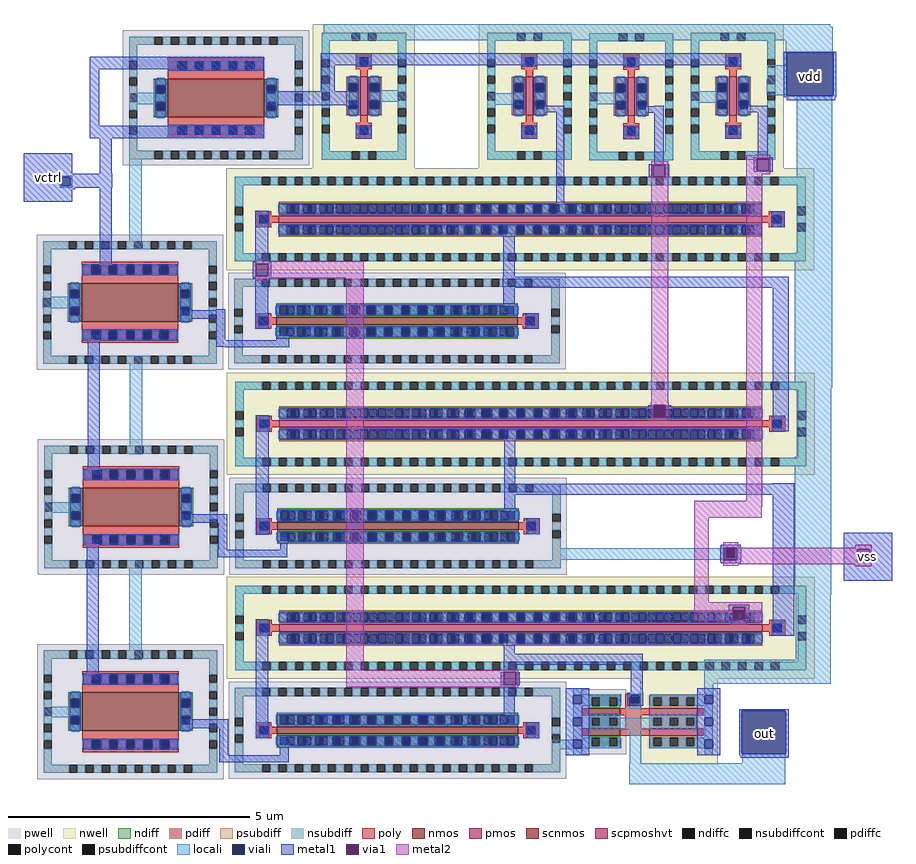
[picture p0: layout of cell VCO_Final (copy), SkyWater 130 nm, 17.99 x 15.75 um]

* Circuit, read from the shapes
.subckt VCO_Final (copy) vdd vss vctrl out
XM1 n1 vctrl vss vss sky130_fd_pr__nfet_01v8 w=0.8 l=2
XM2 n2 vctrl vss vss sky130_fd_pr__nfet_01v8 w=0.8 l=2
XM3 n3 vctrl vss vss sky130_fd_pr__nfet_01v8 w=0.8 l=2
XM4 n4 vctrl vss vss sky130_fd_pr__nfet_01v8 w=0.8 l=2
XM5 n5 x1/A n1 vss sky130_fd_pr__nfet_01v8 w=5 l=0.15
XM6 x1/A n6 n2 vss sky130_fd_pr__nfet_01v8 w=5 l=0.15
XM7 n6 n5 n3 vss sky130_fd_pr__nfet_01v8 w=5 l=0.15
XM8 out x1/A vss vss sky130_fd_pr__nfet_01v8 w=0.65 l=0.15 m=2
XM9 n7 x1/A n5 vdd sky130_fd_pr__pfet_01v8 w=10 l=0.15
XM10 n8 n6 x1/A vdd sky130_fd_pr__pfet_01v8 w=10 l=0.15
XM11 n9 n5 n6 vdd sky130_fd_pr__pfet_01v8 w=10 l=0.15
XM12 vdd n4 n4 vdd sky130_fd_pr__pfet_01v8 w=0.8 l=0.15
XM13 n7 n4 vdd vdd sky130_fd_pr__pfet_01v8 w=0.8 l=0.15
XM14 n9 n4 vdd vdd sky130_fd_pr__pfet_01v8 w=0.8 l=0.15
XM15 out x1/A vdd vdd sky130_fd_pr__pfet_01v8_hvt w=1 l=0.15 m=2
XM16 n8 n4 vdd vdd sky130_fd_pr__pfet_01v8 w=0.8 l=0.15
.ends

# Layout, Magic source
magic
tech sky130A
magscale 1 2
<< nwell >>
rect 3476 2734 3492 2738
rect 3476 2728 3798 2734
<< locali >>
rect 2164 5434 4264 5444
rect 2164 5378 4274 5434
rect 4080 5326 4274 5378
rect 4080 5276 4084 5326
rect 4002 5214 4084 5276
rect 1358 5114 1504 5162
rect 2358 5124 2504 5172
rect 2846 5112 2992 5160
rect 3266 5114 3412 5162
rect 3686 5120 3832 5168
rect 4000 5150 4084 5214
rect 1070 4810 1122 4818
rect 1070 4776 1079 4810
rect 1113 4776 1122 4810
rect 1070 4768 1122 4776
rect 1358 4512 1410 4922
rect 4126 4498 4272 5148
rect 1002 4312 1150 4316
rect 1000 4272 1150 4312
rect 1000 4268 1148 4272
rect 1360 3662 1412 4072
rect 4116 3938 4272 4498
rect 4116 3928 4268 3938
rect 4126 3652 4268 3928
rect 1006 3420 1154 3464
rect 3112 3267 3882 3274
rect 3112 3233 3834 3267
rect 3868 3233 3882 3267
rect 3112 3226 3882 3233
rect 1358 2812 1410 3222
rect 4116 3082 4268 3652
rect 4120 3080 4268 3082
rect 4120 2810 4266 3080
rect 3742 2712 4266 2810
rect 3434 2664 3476 2668
rect 3434 2630 3438 2664
rect 3472 2630 3476 2664
rect 3434 2626 3476 2630
rect 3742 2628 3778 2712
rect 1004 2572 1152 2616
rect 3110 2440 3234 2480
rect 3432 2382 3480 2570
rect 3900 2382 4078 2422
rect 3430 2296 4078 2382
<< viali >>
rect 4084 5148 4276 5326
rect 1079 4776 1113 4810
rect 3834 3233 3868 3267
rect 3438 2630 3472 2664
rect 3898 2422 4080 2600
<< metal1 >>
rect 4072 5326 4288 5332
rect 1196 5308 1916 5310
rect 1194 5258 1916 5308
rect 2152 5274 3894 5324
rect 1194 5024 1234 5258
rect 2152 5168 2210 5274
rect 1930 5110 2308 5168
rect 4072 5148 4084 5326
rect 4276 5148 4288 5326
rect 4072 5142 4288 5148
rect 4084 5130 4284 5142
rect 3084 5106 3162 5108
rect 3534 5106 3574 5108
rect 3044 5080 3162 5106
rect 1194 4972 1918 5024
rect 922 4826 1122 4910
rect 1236 4826 1286 4972
rect 2298 4970 2364 5020
rect 2984 4970 3050 5020
rect 922 4810 1288 4826
rect 922 4776 1079 4810
rect 1113 4776 1288 4810
rect 922 4768 1288 4776
rect 922 4762 1134 4768
rect 922 4710 1122 4762
rect 1236 4444 1286 4768
rect 1880 4460 1934 4672
rect 3128 4664 3162 5080
rect 3462 5078 3574 5106
rect 3890 5080 4004 5108
rect 3406 4968 3472 5018
rect 3534 4864 3574 5078
rect 3828 4970 3894 5020
rect 3964 4894 4004 5080
rect 3946 4890 4026 4894
rect 3512 4863 3596 4864
rect 3512 4811 3528 4863
rect 3580 4811 3596 4863
rect 3946 4838 3960 4890
rect 4012 4838 4026 4890
rect 3946 4834 4026 4838
rect 3512 4810 3596 4811
rect 1870 4452 1946 4460
rect 1236 4406 1286 4410
rect 1870 4400 1882 4452
rect 1934 4400 1946 4452
rect 1870 4392 1946 4400
rect 2908 4398 2956 4610
rect 4026 4604 4076 4670
rect 1720 4260 1756 4264
rect 1572 4224 1756 4260
rect 1186 3578 1236 4158
rect 1720 4136 1756 4224
rect 1880 4182 1934 4392
rect 2906 4352 4092 4398
rect 2908 4242 2956 4352
rect 3006 4182 3056 4248
rect 1968 4136 2022 4164
rect 1720 4108 2022 4136
rect 1754 4106 2022 4108
rect 1576 3378 1764 3414
rect 1182 2728 1232 3308
rect 1728 3266 1764 3378
rect 1882 3330 1936 3824
rect 3510 3814 3531 3866
rect 3583 3814 3604 3866
rect 2912 3540 2958 3764
rect 4026 3758 4092 4352
rect 4028 3756 4078 3758
rect 4026 3540 4114 3542
rect 2912 3494 4114 3540
rect 2912 3392 2958 3494
rect 3010 3332 3060 3398
rect 1984 3266 2014 3322
rect 3810 3280 3892 3288
rect 1726 3236 2014 3266
rect 3808 3275 3894 3280
rect 3808 3223 3825 3275
rect 3877 3223 3894 3275
rect 3808 3220 3894 3223
rect 3810 3210 3892 3220
rect 3844 3029 3928 3038
rect 1576 2528 1768 2564
rect 1732 2416 1768 2528
rect 1882 2486 1934 2978
rect 3844 2977 3860 3029
rect 3912 2977 3928 3029
rect 3844 2968 3928 2977
rect 2910 2836 2956 2916
rect 4026 2910 4114 3494
rect 4320 3269 4520 3338
rect 4320 3217 4376 3269
rect 4428 3217 4520 3269
rect 4320 3138 4520 3217
rect 2910 2790 3486 2836
rect 2910 2760 2956 2790
rect 2898 2759 2976 2760
rect 2898 2707 2911 2759
rect 2963 2707 2976 2759
rect 2898 2706 2976 2707
rect 2910 2548 2956 2706
rect 3436 2674 3486 2790
rect 3422 2664 3488 2674
rect 3422 2630 3438 2664
rect 3472 2630 3488 2664
rect 3422 2620 3488 2630
rect 3886 2600 4092 2606
rect 1982 2416 2020 2492
rect 3008 2486 3058 2552
rect 3886 2422 3898 2600
rect 4080 2422 4092 2600
rect 3886 2416 4092 2422
rect 1732 2386 2020 2416
rect 3892 2404 4092 2416
<< via1 >>
rect 3528 4811 3580 4863
rect 3960 4838 4012 4890
rect 1882 4400 1934 4452
rect 3531 3814 3583 3866
rect 3825 3267 3877 3275
rect 3825 3233 3834 3267
rect 3834 3233 3868 3267
rect 3868 3233 3877 3267
rect 3825 3223 3877 3233
rect 3860 2977 3912 3029
rect 4376 3217 4428 3269
rect 2911 2707 2963 2759
<< metal2 >>
rect 3956 4902 4016 4904
rect 3916 4890 4016 4902
rect 3522 4863 3592 4878
rect 3522 4811 3528 4863
rect 3580 4811 3592 4863
rect 1880 4462 1936 4470
rect 1880 4452 2330 4462
rect 1880 4400 1882 4452
rect 1934 4400 2330 4452
rect 1880 4392 2330 4400
rect 1880 4382 1936 4392
rect 2258 2768 2330 4392
rect 3522 3876 3592 4811
rect 3916 4838 3960 4890
rect 4012 4838 4016 4890
rect 3916 4824 4016 4838
rect 3520 3866 3594 3876
rect 3520 3814 3531 3866
rect 3583 3814 3594 3866
rect 3520 3804 3594 3814
rect 3916 3470 3982 4824
rect 3700 3448 3982 3470
rect 3700 3400 3980 3448
rect 3700 3050 3760 3400
rect 3820 3276 3882 3298
rect 4368 3276 4436 3288
rect 3820 3275 4436 3276
rect 3820 3223 3825 3275
rect 3877 3269 4436 3275
rect 3877 3223 4376 3269
rect 3820 3217 4376 3223
rect 4428 3217 4436 3269
rect 3820 3206 4436 3217
rect 3820 3200 3882 3206
rect 4368 3198 4436 3206
rect 3700 3029 3982 3050
rect 3700 2977 3860 3029
rect 3912 2977 3982 3029
rect 3700 2972 3982 2977
rect 3852 2970 3982 2972
rect 3854 2958 3918 2970
rect 2908 2768 2966 2770
rect 2258 2759 2970 2768
rect 2258 2707 2911 2759
rect 2963 2707 2970 2759
rect 2258 2698 2970 2707
rect 2908 2696 2966 2698
use sky130_fd_pr__nfet_01v8_MMRDEV  M1
transform -1 0 1718 0 -1 5140
box -386 -280 386 280
use sky130_fd_pr__pfet_01v8_XYUFBL  M2
transform 1 0 2331 0 1 5147
box -211 -299 211 299
use sky130_fd_pr__pfet_01v8_XYUFBL  M3
transform 1 0 3439 0 1 5145
box -211 -299 211 299
use sky130_fd_pr__pfet_01v8_XGA8MR  M4
transform 0 1 2981 -1 0 3789
box -211 -1219 211 1219
use sky130_fd_pr__nfet_01v8_MMRDEV  M5
transform 1 0 1366 0 1 3444
box -386 -280 386 280
use sky130_fd_pr__nfet_01v8_BBNS5X  M6
transform 0 1 2472 -1 0 3365
box -201 -700 201 700
use sky130_fd_pr__pfet_01v8_XYUFBL  M7
transform 1 0 3861 0 1 5147
box -211 -299 211 299
use sky130_fd_pr__pfet_01v8_XGA8MR  M8
transform 0 1 2981 -1 0 2943
box -211 -1219 211 1219
use sky130_fd_pr__nfet_01v8_MMRDEV  M9
transform -1 0 1364 0 1 2596
box -386 -280 386 280
use sky130_fd_pr__nfet_01v8_BBNS5X  M10
transform 0 1 2470 1 0 2519
box -201 -700 201 700
use sky130_fd_pr__pfet_01v8_XYUFBL  M11
transform 1 0 3017 0 1 5147
box -211 -299 211 299
use sky130_fd_pr__pfet_01v8_XGA8MR  M12
transform 0 1 2979 -1 0 4637
box -211 -1219 211 1219
use sky130_fd_pr__nfet_01v8_MMRDEV  M13
transform 1 0 1362 0 1 4292
box -386 -280 386 280
use sky130_fd_pr__nfet_01v8_BBNS5X  M14
transform 0 1 2468 -1 0 4215
box -201 -700 201 700
use sky130_fd_sc_hd__inv_2  x1
transform 0 1 3216 -1 0 2692
box -38 -48 314 592
<< labels >>
flabel metal1 s 4320 3138 4520 3338 0 FreeSans 320 0 0 0 vss
port 2 nsew
flabel metal1 s 922 4710 1122 4910 0 FreeSans 320 0 0 0 vctrl
port 3 nsew
flabel metal1 s 3892 2404 4092 2604 0 FreeSans 320 0 0 0 out
port 4 nsew
flabel metal1 s 4084 5130 4284 5330 0 FreeSans 320 180 0 0 vdd
port 1 nsew
<< end >>

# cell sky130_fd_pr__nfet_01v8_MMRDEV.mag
magic
tech sky130A
magscale 1 2
<< pwell >>
rect -386 -280 386 280
<< nmos >>
rect -200 -80 200 80
<< ndiff >>
rect -258 51 -200 80
rect -258 17 -246 51
rect -212 17 -200 51
rect -258 -17 -200 17
rect -258 -51 -246 -17
rect -212 -51 -200 -17
rect -258 -80 -200 -51
rect 200 51 258 80
rect 200 17 212 51
rect 246 17 258 51
rect 200 -17 258 17
rect 200 -51 212 -17
rect 246 -51 258 -17
rect 200 -80 258 -51
<< ndiffc >>
rect -246 17 -212 51
rect -246 -51 -212 -17
rect 212 17 246 51
rect 212 -51 246 -17
<< psubdiff >>
rect -360 220 -255 254
rect -221 220 -187 254
rect -153 220 -119 254
rect -85 220 -51 254
rect -17 220 17 254
rect 51 220 85 254
rect 119 220 153 254
rect 187 220 221 254
rect 255 220 360 254
rect -360 153 -326 220
rect -360 85 -326 119
rect 326 153 360 220
rect 326 85 360 119
rect -360 17 -326 51
rect -360 -51 -326 -17
rect 326 17 360 51
rect 326 -51 360 -17
rect -360 -119 -326 -85
rect -360 -220 -326 -153
rect 326 -119 360 -85
rect 326 -220 360 -153
rect -360 -254 -255 -220
rect -221 -254 -187 -220
rect -153 -254 -119 -220
rect -85 -254 -51 -220
rect -17 -254 17 -220
rect 51 -254 85 -220
rect 119 -254 153 -220
rect 187 -254 221 -220
rect 255 -254 360 -220
<< psubdiffcont >>
rect -255 220 -221 254
rect -187 220 -153 254
rect -119 220 -85 254
rect -51 220 -17 254
rect 17 220 51 254
rect 85 220 119 254
rect 153 220 187 254
rect 221 220 255 254
rect -360 119 -326 153
rect -360 51 -326 85
rect 326 119 360 153
rect -360 -17 -326 17
rect -360 -85 -326 -51
rect 326 51 360 85
rect 326 -17 360 17
rect -360 -153 -326 -119
rect 326 -85 360 -51
rect 326 -153 360 -119
rect -255 -254 -221 -220
rect -187 -254 -153 -220
rect -119 -254 -85 -220
rect -51 -254 -17 -220
rect 17 -254 51 -220
rect 85 -254 119 -220
rect 153 -254 187 -220
rect 221 -254 255 -220
<< poly >>
rect -200 152 200 168
rect -200 118 -153 152
rect -119 118 -85 152
rect -51 118 -17 152
rect 17 118 51 152
rect 85 118 119 152
rect 153 118 200 152
rect -200 80 200 118
rect -200 -118 200 -80
rect -200 -152 -153 -118
rect -119 -152 -85 -118
rect -51 -152 -17 -118
rect 17 -152 51 -118
rect 85 -152 119 -118
rect 153 -152 200 -118
rect -200 -168 200 -152
<< polycont >>
rect -153 118 -119 152
rect -85 118 -51 152
rect -17 118 17 152
rect 51 118 85 152
rect 119 118 153 152
rect -153 -152 -119 -118
rect -85 -152 -51 -118
rect -17 -152 17 -118
rect 51 -152 85 -118
rect 119 -152 153 -118
<< locali >>
rect -360 220 -255 254
rect -221 220 -187 254
rect -153 220 -119 254
rect -85 220 -51 254
rect -17 220 17 254
rect 51 220 85 254
rect 119 220 153 254
rect 187 220 221 254
rect 255 220 360 254
rect -360 153 -326 220
rect 326 153 360 220
rect -360 85 -326 119
rect -200 118 -161 152
rect -119 118 -89 152
rect -51 118 -17 152
rect 17 118 51 152
rect 89 118 119 152
rect 161 118 200 152
rect 326 85 360 119
rect -360 17 -326 51
rect -360 -51 -326 -17
rect -246 53 -212 84
rect -246 -17 -212 17
rect -246 -84 -212 -53
rect 212 53 246 84
rect 212 -17 246 17
rect 212 -84 246 -53
rect 326 17 360 51
rect 326 -51 360 -17
rect -360 -119 -326 -85
rect -200 -152 -161 -118
rect -119 -152 -89 -118
rect -51 -152 -17 -118
rect 17 -152 51 -118
rect 89 -152 119 -118
rect 161 -152 200 -118
rect 326 -119 360 -85
rect -360 -220 -326 -153
rect 326 -220 360 -153
rect -360 -254 -255 -220
rect -221 -254 -187 -220
rect -153 -254 -119 -220
rect -85 -254 -51 -220
rect -17 -254 17 -220
rect 51 -254 85 -220
rect 119 -254 153 -220
rect 187 -254 221 -220
rect 255 -254 360 -220
<< viali >>
rect -161 118 -153 152
rect -153 118 -127 152
rect -89 118 -85 152
rect -85 118 -55 152
rect -17 118 17 152
rect 55 118 85 152
rect 85 118 89 152
rect 127 118 153 152
rect 153 118 161 152
rect -246 51 -212 53
rect -246 19 -212 51
rect -246 -51 -212 -19
rect -246 -53 -212 -51
rect 212 51 246 53
rect 212 19 246 51
rect 212 -51 246 -19
rect 212 -53 246 -51
rect -161 -152 -153 -118
rect -153 -152 -127 -118
rect -89 -152 -85 -118
rect -85 -152 -55 -118
rect -17 -152 17 -118
rect 55 -152 85 -118
rect 85 -152 89 -118
rect 127 -152 153 -118
rect 153 -152 161 -118
<< metal1 >>
rect -196 152 196 158
rect -196 118 -161 152
rect -127 118 -89 152
rect -55 118 -17 152
rect 17 118 55 152
rect 89 118 127 152
rect 161 118 196 152
rect -196 112 196 118
rect -252 53 -206 80
rect -252 19 -246 53
rect -212 19 -206 53
rect -252 -19 -206 19
rect -252 -53 -246 -19
rect -212 -53 -206 -19
rect -252 -80 -206 -53
rect 206 53 252 80
rect 206 19 212 53
rect 246 19 252 53
rect 206 -19 252 19
rect 206 -53 212 -19
rect 246 -53 252 -19
rect 206 -80 252 -53
rect -196 -118 196 -112
rect -196 -152 -161 -118
rect -127 -152 -89 -118
rect -55 -152 -17 -118
rect 17 -152 55 -118
rect 89 -152 127 -118
rect 161 -152 196 -118
rect -196 -158 196 -152
<< properties >>
string FIXED_BBOX -342 -236 342 236
<< end >>

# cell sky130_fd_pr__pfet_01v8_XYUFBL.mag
magic
tech sky130A
magscale 1 2
<< nwell >>
rect -211 -299 211 299
<< pmos >>
rect -15 -80 15 80
<< pdiff >>
rect -73 51 -15 80
rect -73 17 -61 51
rect -27 17 -15 51
rect -73 -17 -15 17
rect -73 -51 -61 -17
rect -27 -51 -15 -17
rect -73 -80 -15 -51
rect 15 51 73 80
rect 15 17 27 51
rect 61 17 73 51
rect 15 -17 73 17
rect 15 -51 27 -17
rect 61 -51 73 -17
rect 15 -80 73 -51
<< pdiffc >>
rect -61 17 -27 51
rect -61 -51 -27 -17
rect 27 17 61 51
rect 27 -51 61 -17
<< nsubdiff >>
rect -175 229 -51 263
rect -17 229 17 263
rect 51 229 175 263
rect -175 153 -141 229
rect -175 85 -141 119
rect 141 153 175 229
rect 141 85 175 119
rect -175 17 -141 51
rect -175 -51 -141 -17
rect 141 17 175 51
rect 141 -51 175 -17
rect -175 -119 -141 -85
rect -175 -229 -141 -153
rect 141 -119 175 -85
rect 141 -229 175 -153
rect -175 -263 -51 -229
rect -17 -263 17 -229
rect 51 -263 175 -229
<< nsubdiffcont >>
rect -51 229 -17 263
rect 17 229 51 263
rect -175 119 -141 153
rect 141 119 175 153
rect -175 51 -141 85
rect -175 -17 -141 17
rect -175 -85 -141 -51
rect 141 51 175 85
rect 141 -17 175 17
rect 141 -85 175 -51
rect -175 -153 -141 -119
rect 141 -153 175 -119
rect -51 -263 -17 -229
rect 17 -263 51 -229
<< poly >>
rect -33 161 33 177
rect -33 127 -17 161
rect 17 127 33 161
rect -33 111 33 127
rect -15 80 15 111
rect -15 -111 15 -80
rect -33 -127 33 -111
rect -33 -161 -17 -127
rect 17 -161 33 -127
rect -33 -177 33 -161
<< polycont >>
rect -17 127 17 161
rect -17 -161 17 -127
<< locali >>
rect -175 229 -51 263
rect -17 229 17 263
rect 51 229 175 263
rect -175 153 -141 229
rect -33 127 -17 161
rect 17 127 33 161
rect 141 153 175 229
rect -175 85 -141 119
rect 141 85 175 119
rect -175 17 -141 51
rect -175 -51 -141 -17
rect -61 53 -27 84
rect -61 -17 -27 17
rect -61 -84 -27 -53
rect 27 53 61 84
rect 27 -17 61 17
rect 27 -84 61 -53
rect 141 17 175 51
rect 141 -51 175 -17
rect -175 -119 -141 -85
rect 141 -119 175 -85
rect -175 -229 -141 -153
rect -33 -161 -17 -127
rect 17 -161 33 -127
rect 141 -229 175 -153
rect -175 -263 -51 -229
rect -17 -263 17 -229
rect 51 -263 175 -229
<< viali >>
rect -17 127 17 161
rect -61 51 -27 53
rect -61 19 -27 51
rect -61 -51 -27 -19
rect -61 -53 -27 -51
rect 27 51 61 53
rect 27 19 61 51
rect 27 -51 61 -19
rect 27 -53 61 -51
rect -17 -161 17 -127
<< metal1 >>
rect -29 161 29 167
rect -29 127 -17 161
rect 17 127 29 161
rect -29 121 29 127
rect -67 53 -21 80
rect -67 19 -61 53
rect -27 19 -21 53
rect -67 -19 -21 19
rect -67 -53 -61 -19
rect -27 -53 -21 -19
rect -67 -80 -21 -53
rect 21 53 67 80
rect 21 19 27 53
rect 61 19 67 53
rect 21 -19 67 19
rect 21 -53 27 -19
rect 61 -53 67 -19
rect 21 -80 67 -53
rect -29 -127 29 -121
rect -29 -161 -17 -127
rect 17 -161 29 -127
rect -29 -167 29 -161
<< properties >>
string FIXED_BBOX -158 -246 158 246
<< end >>

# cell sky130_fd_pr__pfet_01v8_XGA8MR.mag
magic
tech sky130A
magscale 1 2
<< nwell >>
rect -211 -1219 211 1219
<< pmos >>
rect -15 -1000 15 1000
<< pdiff >>
rect -73 969 -15 1000
rect -73 935 -61 969
rect -27 935 -15 969
rect -73 901 -15 935
rect -73 867 -61 901
rect -27 867 -15 901
rect -73 833 -15 867
rect -73 799 -61 833
rect -27 799 -15 833
rect -73 765 -15 799
rect -73 731 -61 765
rect -27 731 -15 765
rect -73 697 -15 731
rect -73 663 -61 697
rect -27 663 -15 697
rect -73 629 -15 663
rect -73 595 -61 629
rect -27 595 -15 629
rect -73 561 -15 595
rect -73 527 -61 561
rect -27 527 -15 561
rect -73 493 -15 527
rect -73 459 -61 493
rect -27 459 -15 493
rect -73 425 -15 459
rect -73 391 -61 425
rect -27 391 -15 425
rect -73 357 -15 391
rect -73 323 -61 357
rect -27 323 -15 357
rect -73 289 -15 323
rect -73 255 -61 289
rect -27 255 -15 289
rect -73 221 -15 255
rect -73 187 -61 221
rect -27 187 -15 221
rect -73 153 -15 187
rect -73 119 -61 153
rect -27 119 -15 153
rect -73 85 -15 119
rect -73 51 -61 85
rect -27 51 -15 85
rect -73 17 -15 51
rect -73 -17 -61 17
rect -27 -17 -15 17
rect -73 -51 -15 -17
rect -73 -85 -61 -51
rect -27 -85 -15 -51
rect -73 -119 -15 -85
rect -73 -153 -61 -119
rect -27 -153 -15 -119
rect -73 -187 -15 -153
rect -73 -221 -61 -187
rect -27 -221 -15 -187
rect -73 -255 -15 -221
rect -73 -289 -61 -255
rect -27 -289 -15 -255
rect -73 -323 -15 -289
rect -73 -357 -61 -323
rect -27 -357 -15 -323
rect -73 -391 -15 -357
rect -73 -425 -61 -391
rect -27 -425 -15 -391
rect -73 -459 -15 -425
rect -73 -493 -61 -459
rect -27 -493 -15 -459
rect -73 -527 -15 -493
rect -73 -561 -61 -527
rect -27 -561 -15 -527
rect -73 -595 -15 -561
rect -73 -629 -61 -595
rect -27 -629 -15 -595
rect -73 -663 -15 -629
rect -73 -697 -61 -663
rect -27 -697 -15 -663
rect -73 -731 -15 -697
rect -73 -765 -61 -731
rect -27 -765 -15 -731
rect -73 -799 -15 -765
rect -73 -833 -61 -799
rect -27 -833 -15 -799
rect -73 -867 -15 -833
rect -73 -901 -61 -867
rect -27 -901 -15 -867
rect -73 -935 -15 -901
rect -73 -969 -61 -935
rect -27 -969 -15 -935
rect -73 -1000 -15 -969
rect 15 969 73 1000
rect 15 935 27 969
rect 61 935 73 969
rect 15 901 73 935
rect 15 867 27 901
rect 61 867 73 901
rect 15 833 73 867
rect 15 799 27 833
rect 61 799 73 833
rect 15 765 73 799
rect 15 731 27 765
rect 61 731 73 765
rect 15 697 73 731
rect 15 663 27 697
rect 61 663 73 697
rect 15 629 73 663
rect 15 595 27 629
rect 61 595 73 629
rect 15 561 73 595
rect 15 527 27 561
rect 61 527 73 561
rect 15 493 73 527
rect 15 459 27 493
rect 61 459 73 493
rect 15 425 73 459
rect 15 391 27 425
rect 61 391 73 425
rect 15 357 73 391
rect 15 323 27 357
rect 61 323 73 357
rect 15 289 73 323
rect 15 255 27 289
rect 61 255 73 289
rect 15 221 73 255
rect 15 187 27 221
rect 61 187 73 221
rect 15 153 73 187
rect 15 119 27 153
rect 61 119 73 153
rect 15 85 73 119
rect 15 51 27 85
rect 61 51 73 85
rect 15 17 73 51
rect 15 -17 27 17
rect 61 -17 73 17
rect 15 -51 73 -17
rect 15 -85 27 -51
rect 61 -85 73 -51
rect 15 -119 73 -85
rect 15 -153 27 -119
rect 61 -153 73 -119
rect 15 -187 73 -153
rect 15 -221 27 -187
rect 61 -221 73 -187
rect 15 -255 73 -221
rect 15 -289 27 -255
rect 61 -289 73 -255
rect 15 -323 73 -289
rect 15 -357 27 -323
rect 61 -357 73 -323
rect 15 -391 73 -357
rect 15 -425 27 -391
rect 61 -425 73 -391
rect 15 -459 73 -425
rect 15 -493 27 -459
rect 61 -493 73 -459
rect 15 -527 73 -493
rect 15 -561 27 -527
rect 61 -561 73 -527
rect 15 -595 73 -561
rect 15 -629 27 -595
rect 61 -629 73 -595
rect 15 -663 73 -629
rect 15 -697 27 -663
rect 61 -697 73 -663
rect 15 -731 73 -697
rect 15 -765 27 -731
rect 61 -765 73 -731
rect 15 -799 73 -765
rect 15 -833 27 -799
rect 61 -833 73 -799
rect 15 -867 73 -833
rect 15 -901 27 -867
rect 61 -901 73 -867
rect 15 -935 73 -901
rect 15 -969 27 -935
rect 61 -969 73 -935
rect 15 -1000 73 -969
<< pdiffc >>
rect -61 935 -27 969
rect -61 867 -27 901
rect -61 799 -27 833
rect -61 731 -27 765
rect -61 663 -27 697
rect -61 595 -27 629
rect -61 527 -27 561
rect -61 459 -27 493
rect -61 391 -27 425
rect -61 323 -27 357
rect -61 255 -27 289
rect -61 187 -27 221
rect -61 119 -27 153
rect -61 51 -27 85
rect -61 -17 -27 17
rect -61 -85 -27 -51
rect -61 -153 -27 -119
rect -61 -221 -27 -187
rect -61 -289 -27 -255
rect -61 -357 -27 -323
rect -61 -425 -27 -391
rect -61 -493 -27 -459
rect -61 -561 -27 -527
rect -61 -629 -27 -595
rect -61 -697 -27 -663
rect -61 -765 -27 -731
rect -61 -833 -27 -799
rect -61 -901 -27 -867
rect -61 -969 -27 -935
rect 27 935 61 969
rect 27 867 61 901
rect 27 799 61 833
rect 27 731 61 765
rect 27 663 61 697
rect 27 595 61 629
rect 27 527 61 561
rect 27 459 61 493
rect 27 391 61 425
rect 27 323 61 357
rect 27 255 61 289
rect 27 187 61 221
rect 27 119 61 153
rect 27 51 61 85
rect 27 -17 61 17
rect 27 -85 61 -51
rect 27 -153 61 -119
rect 27 -221 61 -187
rect 27 -289 61 -255
rect 27 -357 61 -323
rect 27 -425 61 -391
rect 27 -493 61 -459
rect 27 -561 61 -527
rect 27 -629 61 -595
rect 27 -697 61 -663
rect 27 -765 61 -731
rect 27 -833 61 -799
rect 27 -901 61 -867
rect 27 -969 61 -935
<< nsubdiff >>
rect -175 1149 -51 1183
rect -17 1149 17 1183
rect 51 1149 175 1183
rect -175 1071 -141 1149
rect -175 1003 -141 1037
rect 141 1071 175 1149
rect 141 1003 175 1037
rect -175 935 -141 969
rect -175 867 -141 901
rect -175 799 -141 833
rect -175 731 -141 765
rect -175 663 -141 697
rect -175 595 -141 629
rect -175 527 -141 561
rect -175 459 -141 493
rect -175 391 -141 425
rect -175 323 -141 357
rect -175 255 -141 289
rect -175 187 -141 221
rect -175 119 -141 153
rect -175 51 -141 85
rect -175 -17 -141 17
rect -175 -85 -141 -51
rect -175 -153 -141 -119
rect -175 -221 -141 -187
rect -175 -289 -141 -255
rect -175 -357 -141 -323
rect -175 -425 -141 -391
rect -175 -493 -141 -459
rect -175 -561 -141 -527
rect -175 -629 -141 -595
rect -175 -697 -141 -663
rect -175 -765 -141 -731
rect -175 -833 -141 -799
rect -175 -901 -141 -867
rect -175 -969 -141 -935
rect 141 935 175 969
rect 141 867 175 901
rect 141 799 175 833
rect 141 731 175 765
rect 141 663 175 697
rect 141 595 175 629
rect 141 527 175 561
rect 141 459 175 493
rect 141 391 175 425
rect 141 323 175 357
rect 141 255 175 289
rect 141 187 175 221
rect 141 119 175 153
rect 141 51 175 85
rect 141 -17 175 17
rect 141 -85 175 -51
rect 141 -153 175 -119
rect 141 -221 175 -187
rect 141 -289 175 -255
rect 141 -357 175 -323
rect 141 -425 175 -391
rect 141 -493 175 -459
rect 141 -561 175 -527
rect 141 -629 175 -595
rect 141 -697 175 -663
rect 141 -765 175 -731
rect 141 -833 175 -799
rect 141 -901 175 -867
rect 141 -969 175 -935
rect -175 -1037 -141 -1003
rect -175 -1149 -141 -1071
rect 141 -1037 175 -1003
rect 141 -1149 175 -1071
rect -175 -1183 -51 -1149
rect -17 -1183 17 -1149
rect 51 -1183 175 -1149
<< nsubdiffcont >>
rect -51 1149 -17 1183
rect 17 1149 51 1183
rect -175 1037 -141 1071
rect 141 1037 175 1071
rect -175 969 -141 1003
rect -175 901 -141 935
rect -175 833 -141 867
rect -175 765 -141 799
rect -175 697 -141 731
rect -175 629 -141 663
rect -175 561 -141 595
rect -175 493 -141 527
rect -175 425 -141 459
rect -175 357 -141 391
rect -175 289 -141 323
rect -175 221 -141 255
rect -175 153 -141 187
rect -175 85 -141 119
rect -175 17 -141 51
rect -175 -51 -141 -17
rect -175 -119 -141 -85
rect -175 -187 -141 -153
rect -175 -255 -141 -221
rect -175 -323 -141 -289
rect -175 -391 -141 -357
rect -175 -459 -141 -425
rect -175 -527 -141 -493
rect -175 -595 -141 -561
rect -175 -663 -141 -629
rect -175 -731 -141 -697
rect -175 -799 -141 -765
rect -175 -867 -141 -833
rect -175 -935 -141 -901
rect -175 -1003 -141 -969
rect 141 969 175 1003
rect 141 901 175 935
rect 141 833 175 867
rect 141 765 175 799
rect 141 697 175 731
rect 141 629 175 663
rect 141 561 175 595
rect 141 493 175 527
rect 141 425 175 459
rect 141 357 175 391
rect 141 289 175 323
rect 141 221 175 255
rect 141 153 175 187
rect 141 85 175 119
rect 141 17 175 51
rect 141 -51 175 -17
rect 141 -119 175 -85
rect 141 -187 175 -153
rect 141 -255 175 -221
rect 141 -323 175 -289
rect 141 -391 175 -357
rect 141 -459 175 -425
rect 141 -527 175 -493
rect 141 -595 175 -561
rect 141 -663 175 -629
rect 141 -731 175 -697
rect 141 -799 175 -765
rect 141 -867 175 -833
rect 141 -935 175 -901
rect 141 -1003 175 -969
rect -175 -1071 -141 -1037
rect 141 -1071 175 -1037
rect -51 -1183 -17 -1149
rect 17 -1183 51 -1149
<< poly >>
rect -33 1081 33 1097
rect -33 1047 -17 1081
rect 17 1047 33 1081
rect -33 1031 33 1047
rect -15 1000 15 1031
rect -15 -1031 15 -1000
rect -33 -1047 33 -1031
rect -33 -1081 -17 -1047
rect 17 -1081 33 -1047
rect -33 -1097 33 -1081
<< polycont >>
rect -17 1047 17 1081
rect -17 -1081 17 -1047
<< locali >>
rect -175 1149 -51 1183
rect -17 1149 17 1183
rect 51 1149 175 1183
rect -175 1071 -141 1149
rect -33 1047 -17 1081
rect 17 1047 33 1081
rect 141 1071 175 1149
rect -175 1003 -141 1037
rect -175 935 -141 969
rect -175 867 -141 901
rect -175 799 -141 833
rect -175 731 -141 765
rect -175 663 -141 697
rect -175 595 -141 629
rect -175 527 -141 561
rect -175 459 -141 493
rect -175 391 -141 425
rect -175 323 -141 357
rect -175 255 -141 289
rect -175 187 -141 221
rect -175 119 -141 153
rect -175 51 -141 85
rect -175 -17 -141 17
rect -175 -85 -141 -51
rect -175 -153 -141 -119
rect -175 -221 -141 -187
rect -175 -289 -141 -255
rect -175 -357 -141 -323
rect -175 -425 -141 -391
rect -175 -493 -141 -459
rect -175 -561 -141 -527
rect -175 -629 -141 -595
rect -175 -697 -141 -663
rect -175 -765 -141 -731
rect -175 -833 -141 -799
rect -175 -901 -141 -867
rect -175 -969 -141 -935
rect -175 -1037 -141 -1003
rect -61 969 -27 1004
rect -61 901 -27 919
rect -61 833 -27 847
rect -61 765 -27 775
rect -61 697 -27 703
rect -61 629 -27 631
rect -61 593 -27 595
rect -61 521 -27 527
rect -61 449 -27 459
rect -61 377 -27 391
rect -61 305 -27 323
rect -61 233 -27 255
rect -61 161 -27 187
rect -61 89 -27 119
rect -61 17 -27 51
rect -61 -51 -27 -17
rect -61 -119 -27 -89
rect -61 -187 -27 -161
rect -61 -255 -27 -233
rect -61 -323 -27 -305
rect -61 -391 -27 -377
rect -61 -459 -27 -449
rect -61 -527 -27 -521
rect -61 -595 -27 -593
rect -61 -631 -27 -629
rect -61 -703 -27 -697
rect -61 -775 -27 -765
rect -61 -847 -27 -833
rect -61 -919 -27 -901
rect -61 -1004 -27 -969
rect 27 969 61 1004
rect 27 901 61 919
rect 27 833 61 847
rect 27 765 61 775
rect 27 697 61 703
rect 27 629 61 631
rect 27 593 61 595
rect 27 521 61 527
rect 27 449 61 459
rect 27 377 61 391
rect 27 305 61 323
rect 27 233 61 255
rect 27 161 61 187
rect 27 89 61 119
rect 27 17 61 51
rect 27 -51 61 -17
rect 27 -119 61 -89
rect 27 -187 61 -161
rect 27 -255 61 -233
rect 27 -323 61 -305
rect 27 -391 61 -377
rect 27 -459 61 -449
rect 27 -527 61 -521
rect 27 -595 61 -593
rect 27 -631 61 -629
rect 27 -703 61 -697
rect 27 -775 61 -765
rect 27 -847 61 -833
rect 27 -919 61 -901
rect 27 -1004 61 -969
rect 141 1003 175 1037
rect 141 935 175 969
rect 141 867 175 901
rect 141 799 175 833
rect 141 731 175 765
rect 141 663 175 697
rect 141 595 175 629
rect 141 527 175 561
rect 141 459 175 493
rect 141 391 175 425
rect 141 323 175 357
rect 141 255 175 289
rect 141 187 175 221
rect 141 119 175 153
rect 141 51 175 85
rect 141 -17 175 17
rect 141 -85 175 -51
rect 141 -153 175 -119
rect 141 -221 175 -187
rect 141 -289 175 -255
rect 141 -357 175 -323
rect 141 -425 175 -391
rect 141 -493 175 -459
rect 141 -561 175 -527
rect 141 -629 175 -595
rect 141 -697 175 -663
rect 141 -765 175 -731
rect 141 -833 175 -799
rect 141 -901 175 -867
rect 141 -969 175 -935
rect 141 -1037 175 -1003
rect -175 -1149 -141 -1071
rect -33 -1081 -17 -1047
rect 17 -1081 33 -1047
rect 141 -1149 175 -1071
rect -175 -1183 -51 -1149
rect -17 -1183 17 -1149
rect 51 -1183 175 -1149
<< viali >>
rect -17 1047 17 1081
rect -61 935 -27 953
rect -61 919 -27 935
rect -61 867 -27 881
rect -61 847 -27 867
rect -61 799 -27 809
rect -61 775 -27 799
rect -61 731 -27 737
rect -61 703 -27 731
rect -61 663 -27 665
rect -61 631 -27 663
rect -61 561 -27 593
rect -61 559 -27 561
rect -61 493 -27 521
rect -61 487 -27 493
rect -61 425 -27 449
rect -61 415 -27 425
rect -61 357 -27 377
rect -61 343 -27 357
rect -61 289 -27 305
rect -61 271 -27 289
rect -61 221 -27 233
rect -61 199 -27 221
rect -61 153 -27 161
rect -61 127 -27 153
rect -61 85 -27 89
rect -61 55 -27 85
rect -61 -17 -27 17
rect -61 -85 -27 -55
rect -61 -89 -27 -85
rect -61 -153 -27 -127
rect -61 -161 -27 -153
rect -61 -221 -27 -199
rect -61 -233 -27 -221
rect -61 -289 -27 -271
rect -61 -305 -27 -289
rect -61 -357 -27 -343
rect -61 -377 -27 -357
rect -61 -425 -27 -415
rect -61 -449 -27 -425
rect -61 -493 -27 -487
rect -61 -521 -27 -493
rect -61 -561 -27 -559
rect -61 -593 -27 -561
rect -61 -663 -27 -631
rect -61 -665 -27 -663
rect -61 -731 -27 -703
rect -61 -737 -27 -731
rect -61 -799 -27 -775
rect -61 -809 -27 -799
rect -61 -867 -27 -847
rect -61 -881 -27 -867
rect -61 -935 -27 -919
rect -61 -953 -27 -935
rect 27 935 61 953
rect 27 919 61 935
rect 27 867 61 881
rect 27 847 61 867
rect 27 799 61 809
rect 27 775 61 799
rect 27 731 61 737
rect 27 703 61 731
rect 27 663 61 665
rect 27 631 61 663
rect 27 561 61 593
rect 27 559 61 561
rect 27 493 61 521
rect 27 487 61 493
rect 27 425 61 449
rect 27 415 61 425
rect 27 357 61 377
rect 27 343 61 357
rect 27 289 61 305
rect 27 271 61 289
rect 27 221 61 233
rect 27 199 61 221
rect 27 153 61 161
rect 27 127 61 153
rect 27 85 61 89
rect 27 55 61 85
rect 27 -17 61 17
rect 27 -85 61 -55
rect 27 -89 61 -85
rect 27 -153 61 -127
rect 27 -161 61 -153
rect 27 -221 61 -199
rect 27 -233 61 -221
rect 27 -289 61 -271
rect 27 -305 61 -289
rect 27 -357 61 -343
rect 27 -377 61 -357
rect 27 -425 61 -415
rect 27 -449 61 -425
rect 27 -493 61 -487
rect 27 -521 61 -493
rect 27 -561 61 -559
rect 27 -593 61 -561
rect 27 -663 61 -631
rect 27 -665 61 -663
rect 27 -731 61 -703
rect 27 -737 61 -731
rect 27 -799 61 -775
rect 27 -809 61 -799
rect 27 -867 61 -847
rect 27 -881 61 -867
rect 27 -935 61 -919
rect 27 -953 61 -935
rect -17 -1081 17 -1047
<< metal1 >>
rect -29 1081 29 1087
rect -29 1047 -17 1081
rect 17 1047 29 1081
rect -29 1041 29 1047
rect -67 953 -21 1000
rect -67 919 -61 953
rect -27 919 -21 953
rect -67 881 -21 919
rect -67 847 -61 881
rect -27 847 -21 881
rect -67 809 -21 847
rect -67 775 -61 809
rect -27 775 -21 809
rect -67 737 -21 775
rect -67 703 -61 737
rect -27 703 -21 737
rect -67 665 -21 703
rect -67 631 -61 665
rect -27 631 -21 665
rect -67 593 -21 631
rect -67 559 -61 593
rect -27 559 -21 593
rect -67 521 -21 559
rect -67 487 -61 521
rect -27 487 -21 521
rect -67 449 -21 487
rect -67 415 -61 449
rect -27 415 -21 449
rect -67 377 -21 415
rect -67 343 -61 377
rect -27 343 -21 377
rect -67 305 -21 343
rect -67 271 -61 305
rect -27 271 -21 305
rect -67 233 -21 271
rect -67 199 -61 233
rect -27 199 -21 233
rect -67 161 -21 199
rect -67 127 -61 161
rect -27 127 -21 161
rect -67 89 -21 127
rect -67 55 -61 89
rect -27 55 -21 89
rect -67 17 -21 55
rect -67 -17 -61 17
rect -27 -17 -21 17
rect -67 -55 -21 -17
rect -67 -89 -61 -55
rect -27 -89 -21 -55
rect -67 -127 -21 -89
rect -67 -161 -61 -127
rect -27 -161 -21 -127
rect -67 -199 -21 -161
rect -67 -233 -61 -199
rect -27 -233 -21 -199
rect -67 -271 -21 -233
rect -67 -305 -61 -271
rect -27 -305 -21 -271
rect -67 -343 -21 -305
rect -67 -377 -61 -343
rect -27 -377 -21 -343
rect -67 -415 -21 -377
rect -67 -449 -61 -415
rect -27 -449 -21 -415
rect -67 -487 -21 -449
rect -67 -521 -61 -487
rect -27 -521 -21 -487
rect -67 -559 -21 -521
rect -67 -593 -61 -559
rect -27 -593 -21 -559
rect -67 -631 -21 -593
rect -67 -665 -61 -631
rect -27 -665 -21 -631
rect -67 -703 -21 -665
rect -67 -737 -61 -703
rect -27 -737 -21 -703
rect -67 -775 -21 -737
rect -67 -809 -61 -775
rect -27 -809 -21 -775
rect -67 -847 -21 -809
rect -67 -881 -61 -847
rect -27 -881 -21 -847
rect -67 -919 -21 -881
rect -67 -953 -61 -919
rect -27 -953 -21 -919
rect -67 -1000 -21 -953
rect 21 953 67 1000
rect 21 919 27 953
rect 61 919 67 953
rect 21 881 67 919
rect 21 847 27 881
rect 61 847 67 881
rect 21 809 67 847
rect 21 775 27 809
rect 61 775 67 809
rect 21 737 67 775
rect 21 703 27 737
rect 61 703 67 737
rect 21 665 67 703
rect 21 631 27 665
rect 61 631 67 665
rect 21 593 67 631
rect 21 559 27 593
rect 61 559 67 593
rect 21 521 67 559
rect 21 487 27 521
rect 61 487 67 521
rect 21 449 67 487
rect 21 415 27 449
rect 61 415 67 449
rect 21 377 67 415
rect 21 343 27 377
rect 61 343 67 377
rect 21 305 67 343
rect 21 271 27 305
rect 61 271 67 305
rect 21 233 67 271
rect 21 199 27 233
rect 61 199 67 233
rect 21 161 67 199
rect 21 127 27 161
rect 61 127 67 161
rect 21 89 67 127
rect 21 55 27 89
rect 61 55 67 89
rect 21 17 67 55
rect 21 -17 27 17
rect 61 -17 67 17
rect 21 -55 67 -17
rect 21 -89 27 -55
rect 61 -89 67 -55
rect 21 -127 67 -89
rect 21 -161 27 -127
rect 61 -161 67 -127
rect 21 -199 67 -161
rect 21 -233 27 -199
rect 61 -233 67 -199
rect 21 -271 67 -233
rect 21 -305 27 -271
rect 61 -305 67 -271
rect 21 -343 67 -305
rect 21 -377 27 -343
rect 61 -377 67 -343
rect 21 -415 67 -377
rect 21 -449 27 -415
rect 61 -449 67 -415
rect 21 -487 67 -449
rect 21 -521 27 -487
rect 61 -521 67 -487
rect 21 -559 67 -521
rect 21 -593 27 -559
rect 61 -593 67 -559
rect 21 -631 67 -593
rect 21 -665 27 -631
rect 61 -665 67 -631
rect 21 -703 67 -665
rect 21 -737 27 -703
rect 61 -737 67 -703
rect 21 -775 67 -737
rect 21 -809 27 -775
rect 61 -809 67 -775
rect 21 -847 67 -809
rect 21 -881 27 -847
rect 61 -881 67 -847
rect 21 -919 67 -881
rect 21 -953 27 -919
rect 61 -953 67 -919
rect 21 -1000 67 -953
rect -29 -1047 29 -1041
rect -29 -1081 -17 -1047
rect 17 -1081 29 -1047
rect -29 -1087 29 -1081
<< properties >>
string FIXED_BBOX -158 -1166 158 1166
<< end >>

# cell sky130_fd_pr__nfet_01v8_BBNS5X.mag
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
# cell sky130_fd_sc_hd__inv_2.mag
magic
tech sky130A
magscale 1 2
<< nwell >>
rect -38 261 314 582
<< pwell >>
rect 3 21 273 203
rect 29 -17 63 21
<< scnmos >>
rect 81 47 111 177
rect 165 47 195 177
<< scpmoshvt >>
rect 81 297 111 497
rect 165 297 195 497
<< ndiff >>
rect 29 165 81 177
rect 29 131 37 165
rect 71 131 81 165
rect 29 93 81 131
rect 29 59 37 93
rect 71 59 81 93
rect 29 47 81 59
rect 111 165 165 177
rect 111 131 121 165
rect 155 131 165 165
rect 111 93 165 131
rect 111 59 121 93
rect 155 59 165 93
rect 111 47 165 59
rect 195 165 247 177
rect 195 131 205 165
rect 239 131 247 165
rect 195 93 247 131
rect 195 59 205 93
rect 239 59 247 93
rect 195 47 247 59
<< pdiff >>
rect 29 485 81 497
rect 29 451 37 485
rect 71 451 81 485
rect 29 417 81 451
rect 29 383 37 417
rect 71 383 81 417
rect 29 349 81 383
rect 29 315 37 349
rect 71 315 81 349
rect 29 297 81 315
rect 111 485 165 497
rect 111 451 121 485
rect 155 451 165 485
rect 111 417 165 451
rect 111 383 121 417
rect 155 383 165 417
rect 111 349 165 383
rect 111 315 121 349
rect 155 315 165 349
rect 111 297 165 315
rect 195 485 247 497
rect 195 451 205 485
rect 239 451 247 485
rect 195 417 247 451
rect 195 383 205 417
rect 239 383 247 417
rect 195 349 247 383
rect 195 315 205 349
rect 239 315 247 349
rect 195 297 247 315
<< ndiffc >>
rect 37 131 71 165
rect 37 59 71 93
rect 121 131 155 165
rect 121 59 155 93
rect 205 131 239 165
rect 205 59 239 93
<< pdiffc >>
rect 37 451 71 485
rect 37 383 71 417
rect 37 315 71 349
rect 121 451 155 485
rect 121 383 155 417
rect 121 315 155 349
rect 205 451 239 485
rect 205 383 239 417
rect 205 315 239 349
<< poly >>
rect 81 497 111 523
rect 165 497 195 523
rect 81 265 111 297
rect 165 265 195 297
rect 21 249 195 265
rect 21 215 37 249
rect 71 215 195 249
rect 21 199 195 215
rect 81 177 111 199
rect 165 177 195 199
rect 81 21 111 47
rect 165 21 195 47
<< polycont >>
rect 37 215 71 249
<< locali >>
rect 0 527 29 561
rect 63 527 121 561
rect 155 527 213 561
rect 247 527 276 561
rect 25 485 71 527
rect 25 451 37 485
rect 25 417 71 451
rect 25 383 37 417
rect 25 349 71 383
rect 25 315 37 349
rect 25 299 71 315
rect 105 485 171 493
rect 105 451 121 485
rect 155 451 171 485
rect 105 417 171 451
rect 105 383 121 417
rect 155 383 171 417
rect 105 349 171 383
rect 105 315 121 349
rect 155 315 171 349
rect 105 297 171 315
rect 205 485 247 527
rect 239 451 247 485
rect 205 417 247 451
rect 239 383 247 417
rect 205 349 247 383
rect 239 315 247 349
rect 205 299 247 315
rect 21 249 87 265
rect 21 215 37 249
rect 71 215 87 249
rect 25 165 71 181
rect 121 177 171 297
rect 25 131 37 165
rect 25 93 71 131
rect 25 59 37 93
rect 25 17 71 59
rect 105 165 171 177
rect 105 131 121 165
rect 155 131 171 165
rect 105 93 171 131
rect 105 59 121 93
rect 155 59 171 93
rect 105 51 171 59
rect 205 165 247 181
rect 239 131 247 165
rect 205 93 247 131
rect 239 59 247 93
rect 205 17 247 59
rect 0 -17 29 17
rect 63 -17 121 17
rect 155 -17 213 17
rect 247 -17 276 17
<< viali >>
rect 29 527 63 561
rect 121 527 155 561
rect 213 527 247 561
rect 29 -17 63 17
rect 121 -17 155 17
rect 213 -17 247 17
<< metal1 >>
rect 0 561 276 592
rect 0 527 29 561
rect 63 527 121 561
rect 155 527 213 561
rect 247 527 276 561
rect 0 496 276 527
rect 0 17 276 48
rect 0 -17 29 17
rect 63 -17 121 17
rect 155 -17 213 17
rect 247 -17 276 17
rect 0 -48 276 -17
<< labels >>
flabel locali s 29 221 63 255 0 FreeSans 340 0 0 0 A
port 7 nsew
flabel locali s 121 153 155 187 0 FreeSans 340 0 0 0 Y
port 6 nsew
flabel locali s 121 289 155 323 0 FreeSans 340 0 0 0 Y
port 6 nsew
flabel locali s 121 221 155 255 0 FreeSans 340 0 0 0 Y
port 6 nsew
flabel nwell s 29 527 63 561 0 FreeSans 200 0 0 0 VPB
port 2 nsew
flabel pwell s 29 -17 63 17 0 FreeSans 200 0 0 0 VNB
port 3 nsew
flabel metal1 s 29 527 63 561 0 FreeSans 200 0 0 0 VPWR
port 4 nsew
flabel metal1 s 29 -17 63 17 0 FreeSans 200 0 0 0 VGND
port 5 nsew
rlabel comment s 0 0 0 0 4 inv_2
<< properties >>
string FIXED_BBOX 0 0 276 544
string path 0.000 0.000 1.380 0.000 
<< end >>
